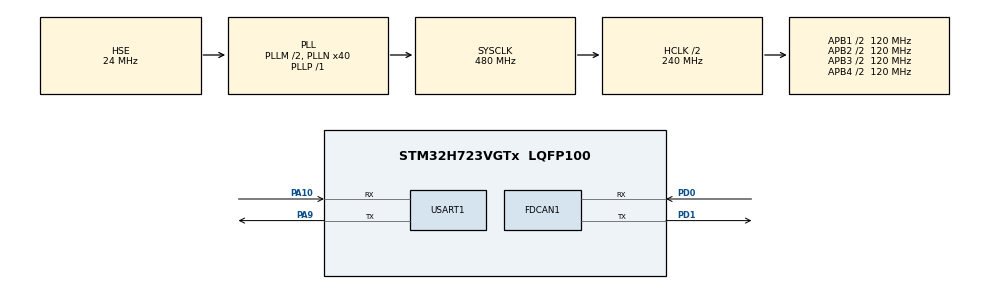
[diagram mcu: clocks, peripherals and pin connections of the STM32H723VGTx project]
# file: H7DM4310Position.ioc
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CORTEX_M7.default_mode_Activation=0
FDCAN1.CalculateBaudRateNominal=1000000
FDCAN1.CalculateTimeBitNominal=1000
FDCAN1.CalculateTimeQuantumNominal=25.0
FDCAN1.DataPrescaler=3
FDCAN1.DataSyncJumpWidth=10
FDCAN1.DataTimeSeg1=29
FDCAN1.DataTimeSeg2=10
FDCAN1.NominalPrescaler=3
FDCAN1.NominalSyncJumpWidth=10
FDCAN1.NominalTimeSeg1=29
FDCAN1.NominalTimeSeg2=10
FDCAN1.ProtocolException=ENABLE
FDCAN1.RxFifo0ElmtsNbr=2
FDCAN1.StdFiltersNbr=1
FDCAN1.TxFifoQueueElmtsNbr=2
Mcu.Family=STM32H7
Mcu.Name=STM32H723VGTx
Mcu.Package=LQFP100
NVIC.FDCAN1_IT0_IRQn=true\:0\:0\:false\:false\:true\:true\:true\:true
NVIC.PriorityGroup=NVIC_PRIORITYGROUP_2
NVIC.TIM1_UP_IRQn=true\:1\:0\:true\:false\:true\:true\:true\:true
PA10.Mode=Asynchronous
PA10.Signal=USART1_RX
PA9.Mode=Asynchronous
PA9.Signal=USART1_TX
PD0.Mode=FDCAN_Activate
PD0.Signal=FDCAN1_RX
PD1.Mode=FDCAN_Activate
PD1.Signal=FDCAN1_TX
PH0-OSC_IN.Mode=HSE-External-Oscillator
PH0-OSC_IN.Signal=RCC_OSC_IN
PH1-OSC_OUT.Mode=HSE-External-Oscillator
PH1-OSC_OUT.Signal=RCC_OSC_OUT
ProjectManager.HeapSize=0x200
ProjectManager.StackSize=0x400
ProjectManager.TargetToolchain=MDK-ARM V5.32
RCC.ADCFreq_Value=96000000
RCC.APB1Freq_Value=120000000
RCC.APB2Freq_Value=120000000
RCC.APB3Freq_Value=120000000
RCC.APB4Freq_Value=120000000
RCC.CortexFreq_Value=480000000
RCC.D1PPRE=RCC_APB3_DIV2
RCC.D2PPRE1=RCC_APB1_DIV2
RCC.D2PPRE2=RCC_APB2_DIV2
RCC.D3PPRE=RCC_APB4_DIV2
RCC.DIVM1=2
RCC.DIVM2=2
RCC.DIVN1=40
RCC.DIVN2=16
RCC.DIVP1=1
RCC.DIVQ1=4
RCC.DIVQ2=4
RCC.HCLKFreq_Value=240000000
RCC.HPRE=RCC_HCLK_DIV2
RCC.HSE_VALUE=24000000
RCC.PLL2FRACN=0
RCC.PLLFRACN=0
RCC.PLLSourceVirtual=RCC_PLLSOURCE_HSE
RCC.SYSCLKFreq_VALUE=480000000
RCC.SYSCLKSource=RCC_SYSCLKSOURCE_PLLCLK
RCC.USBFreq_Value=120000000
TIM1.AutoReloadPreload=TIM_AUTORELOAD_PRELOAD_ENABLE
TIM1.Period=9999
TIM1.Prescaler=23999
USART1.VirtualMode-Asynchronous=VM_ASYNC
VP_TIM1_VS_ClockSourceINT.Mode=Internal
board=custom

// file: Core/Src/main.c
/* USER CODE BEGIN Header */
/**
 ******************************************************************************
 * @file           : main.c
 * @brief          : Main program body
 ******************************************************************************
 * @attention
 *
 * Copyright (c) 2026 STMicroelectronics.
 * All rights reserved.
 *
 * This software is licensed under terms that can be found in the LICENSE file
 * in the root directory of this software component.
 * If no LICENSE file comes with this software, it is provided AS-IS.
 *
 ******************************************************************************
 */
/* USER CODE END Header */
#include "main.h"
#include "fdcan.h"
#include "tim.h"
#include "usart.h"
#include "gpio.h"

/* USER CODE BEGIN Includes */
#include "MyCAN.h"
#include "DM4310.h"
#include "Transform.h"
/* USER CODE END Includes */

/* USER CODE BEGIN PV */
PID_PositionStruct Pos_PID;
PID_SpeedStruct Speed_PID;
FDCAN_RxHeaderTypeDef RxHeader;
uint8_t RxData[8];
float Target_pos = 0;
float Target_Speed = 0;
/* USER CODE END PV */

void SystemClock_Config(void);

/* USER CODE BEGIN 0 */
void HAL_FDCAN_RxFifo0Callback(FDCAN_HandleTypeDef *hfdcan, uint32_t RxFifo0ITs)
{
  if (hfdcan == &hfdcan1)
  {
    HAL_FDCAN_GetRxMessage(hfdcan, FDCAN_RX_FIFO0, &RxHeader, RxData);
  }
}

void HAL_TIM_PeriodElapsedCallback(TIM_HandleTypeDef *htim)
{
  static uint16_t count = 0;
  static uint16_t Flag  = 1;
  if (htim == &htim1)
  {
    count++;
    if (count == 5 && Flag == 1)
    {
      count = 0;
      Target_pos += 60.0f;
      if (Target_pos == 360.0f)
      {
        // Target_pos = 0;
        Flag = 0;
      }
    }

    if (count == 5 && Flag == 0)
    {
      count = 0;
      Target_pos -= 60.0f;
      if (Target_pos == 0)
      {
        // Target_pos = 0;
        Flag = 1;
      }
    }
  }
}
/* USER CODE END 0 */

int main(void)
{

  /* USER CODE BEGIN 1 */
  Speed_PID.Kp = 0.0555; // 0.054982
  Speed_PID.Ki = 0.003; // 0.003175
  Speed_PID.Kd = 0.0000000001;// 0.000001275
  Speed_PID.I_Max = 5.00;
  Speed_PID.Out_Max = 5.00;

  Pos_PID.Kp = 0.099; // 0.1
  Pos_PID.Ki = 0.0; // 0.0000001550055
  Pos_PID.Kd = 0.000000003; // 0.0000000005
  Pos_PID.I_Max = 5.00;
  Pos_PID.Out_Max = 10.00; // 外环的输出限幅取决于内环的输入限幅
  /* USER CODE END 1 */

  /* MCU Configuration--------------------------------------------------------*/

  /* Reset of all peripherals, Initializes the Flash interface and the Systick. */
  HAL_Init();

  /* Configure the system clock */
  SystemClock_Config();

  /* Initialize all configured peripherals */
  MX_GPIO_Init();
  MX_FDCAN1_Init();
  MX_USART1_UART_Init();
  MX_TIM1_Init();
  /* USER CODE BEGIN 2 */
  MyFDCAN_Init();
  Enable_DM4310();
	HAL_Delay(10);
  HAL_TIM_Base_Start_IT(&htim1);
  // Disable_DM4310();
  /* USER CODE END 2 */

  /* Infinite loop */
  /* USER CODE BEGIN WHILE */
  while (1)
  {

    uint16_t CurPosition = RxData[2] | (RxData[1] << 8);
    uint16_t ActualPos = uint_to_float(CurPosition, 0, 360, 16);
    uint16_t Cur_Speed = RxData[3] << 4 | (RxData[4] & 0xF0) >> 4;
    float ActualSpeed = uint_to_float(Cur_Speed, -30, 30, 12);
    Set_DM4310_Position(Target_pos, ActualPos, ActualSpeed, &Pos_PID, &Speed_PID);
    HAL_Delay(10);
    /* USER CODE END WHILE */

  }
}

void SystemClock_Config(void)
{
  RCC_OscInitTypeDef RCC_OscInitStruct = {0};
  RCC_ClkInitTypeDef RCC_ClkInitStruct = {0};

  /** Supply configuration update enable
  */
  HAL_PWREx_ConfigSupply(PWR_LDO_SUPPLY);

  /** Configure the main internal regulator output voltage
  */
  __HAL_PWR_VOLTAGESCALING_CONFIG(PWR_REGULATOR_VOLTAGE_SCALE0);

  while(!__HAL_PWR_GET_FLAG(PWR_FLAG_VOSRDY)) {}

  /** Initializes the RCC Oscillators according to the specified parameters
  * in the RCC_OscInitTypeDef structure.
  */
  RCC_OscInitStruct.OscillatorType = RCC_OSCILLATORTYPE_HSE;
  RCC_OscInitStruct.HSEState = RCC_HSE_ON;
  RCC_OscInitStruct.PLL.PLLState = RCC_PLL_ON;
  RCC_OscInitStruct.PLL.PLLSource = RCC_PLLSOURCE_HSE;
  RCC_OscInitStruct.PLL.PLLM = 2;
  RCC_OscInitStruct.PLL.PLLN = 40;
  RCC_OscInitStruct.PLL.PLLP = 1;
  RCC_OscInitStruct.PLL.PLLQ = 4;
  RCC_OscInitStruct.PLL.PLLR = 2;
  RCC_OscInitStruct.PLL.PLLRGE = RCC_PLL1VCIRANGE_3;
  RCC_OscInitStruct.PLL.PLLVCOSEL = RCC_PLL1VCOWIDE;
  RCC_OscInitStruct.PLL.PLLFRACN = 0;
  if (HAL_RCC_OscConfig(&RCC_OscInitStruct) != HAL_OK)
  {
    Error_Handler();
  }

  /** Initializes the CPU, AHB and APB buses clocks
  */
  RCC_ClkInitStruct.ClockType = RCC_CLOCKTYPE_HCLK|RCC_CLOCKTYPE_SYSCLK
                              |RCC_CLOCKTYPE_PCLK1|RCC_CLOCKTYPE_PCLK2
                              |RCC_CLOCKTYPE_D3PCLK1|RCC_CLOCKTYPE_D1PCLK1;
  RCC_ClkInitStruct.SYSCLKSource = RCC_SYSCLKSOURCE_PLLCLK;
  RCC_ClkInitStruct.SYSCLKDivider = RCC_SYSCLK_DIV1;
  RCC_ClkInitStruct.AHBCLKDivider = RCC_HCLK_DIV2;
  RCC_ClkInitStruct.APB3CLKDivider = RCC_APB3_DIV2;
  RCC_ClkInitStruct.APB1CLKDivider = RCC_APB1_DIV2;
  RCC_ClkInitStruct.APB2CLKDivider = RCC_APB2_DIV2;
  RCC_ClkInitStruct.APB4CLKDivider = RCC_APB4_DIV2;

  if (HAL_RCC_ClockConfig(&RCC_ClkInitStruct, FLASH_LATENCY_3) != HAL_OK)
  {
    Error_Handler();
  }
}

void Error_Handler(void)
{
  __disable_irq();
  while (1)
  {
  }
}
